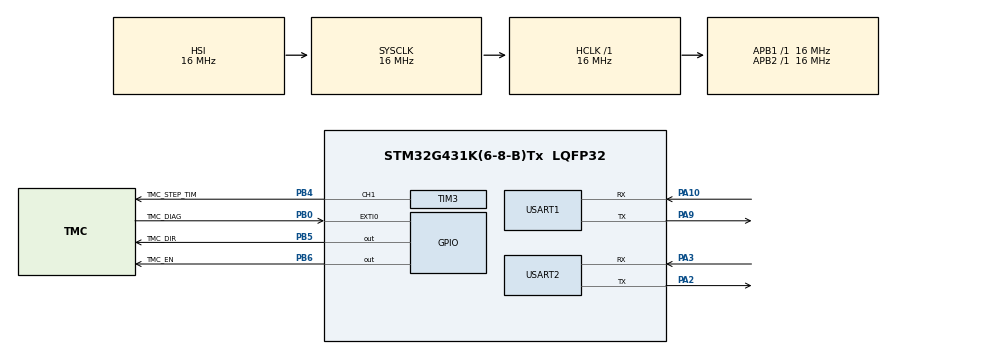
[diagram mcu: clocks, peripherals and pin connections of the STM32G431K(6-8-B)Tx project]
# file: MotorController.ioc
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Mcu.Family=STM32G4
Mcu.Name=STM32G431K(6-8-B)Tx
Mcu.Package=LQFP32
NVIC.PriorityGroup=NVIC_PRIORITYGROUP_4
NVIC.TIM2_IRQn=true\:0\:0\:false\:false\:true\:true\:true\:true
PA10.Mode=Asynchronous
PA10.Signal=USART1_RX
PA2.Mode=Asynchronous
PA2.Signal=USART2_TX
PA3.Mode=Asynchronous
PA3.Signal=USART2_RX
PA9.Mode=Asynchronous
PA9.Signal=USART1_TX
PB0.GPIO_Label=TMC_DIAG
PB0.Signal=GPXTI0
PB4.GPIO_Label=TMC_STEP_TIM
PB4.GPIO_Speed=GPIO_SPEED_FREQ_HIGH
PB4.Signal=S_TIM3_CH1
PB5.GPIO_Label=TMC_DIR
PB5.Signal=GPIO_Output
PB6.GPIO_Label=TMC_EN
PB6.PinState=GPIO_PIN_SET
PB6.Signal=GPIO_Output
ProjectManager.HeapSize=0x200
ProjectManager.StackSize=0x400
ProjectManager.TargetToolchain=CMake
RCC.AHBFreq_Value=16000000
RCC.APB1Freq_Value=16000000
RCC.APB1TimFreq_Value=16000000
RCC.APB2Freq_Value=16000000
RCC.APB2TimFreq_Value=16000000
RCC.CortexFreq_Value=16000000
RCC.EXTERNAL_CLOCK_VALUE=12288000
RCC.HCLKFreq_Value=16000000
RCC.HSE_VALUE=8000000
RCC.HSI48_VALUE=48000000
RCC.HSI_VALUE=16000000
RCC.LSE_VALUE=32768
RCC.SYSCLKFreq_VALUE=16000000
RCC.USBFreq_Value=64000000
RCC.VCOOutputFreq_Value=128000000
SH.S_TIM3_CH1.0=TIM3_CH1,PWM Generation1 CH1
TIM2.AutoReloadPreload=TIM_AUTORELOAD_PRELOAD_ENABLE
TIM2.PeriodNoDither=9
TIM2.Prescaler=15999
TIM3.AutoReloadPreload=TIM_AUTORELOAD_PRELOAD_ENABLE
TIM3.Channel-PWM\ Generation1\ CH1=TIM_CHANNEL_1
TIM3.PeriodNoDither=999
TIM3.Prescaler=15
TIM3.PulseNoDither_1=500
TIM3.TIM_MasterOutputTrigger=TIM_TRGO_OC1REF
USART1.VirtualMode-Asynchronous=VM_ASYNC
USART2.VirtualMode-Asynchronous=VM_ASYNC
VP_SYS_VS_DBSignals.Mode=DisableDeadBatterySignals
VP_TIM2_VS_ClockSourceINT.Mode=Internal
VP_TIM3_VS_ClockSourceINT.Mode=Internal
board=custom

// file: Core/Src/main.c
/* USER CODE BEGIN Header */
/**
  ******************************************************************************
  * @file           : main.c
  * @brief          : Main program body
  ******************************************************************************
  * @attention
  *
  * Copyright (c) 2025 STMicroelectronics.
  * All rights reserved.
  *
  * This software is licensed under terms that can be found in the LICENSE file
  * in the root directory of this software component.
  * If no LICENSE file comes with this software, it is provided AS-IS.
  *
  ******************************************************************************
  */
/* USER CODE END Header */
#include "main.h"
#include "tim.h"
#include "usart.h"
#include "gpio.h"

/* USER CODE BEGIN Includes */
#include "string.h"
#include "stdio.h"
#include "stdbool.h"

#include "tmc2209.h"

/* USER CODE END Includes */

/* USER CODE BEGIN PV */

#define APB1_CLK_HZ 16000000UL
#define TIM3_PRESCALER 15
#define TIM3_COUNTER_CLK_HZ (APB1_CLK_HZ / (TIM3_PRESCALER + 1))
#define MAX_VELOCITY 6800
#define MIN_VELOCITY 10

/* USER CODE END PV */

void SystemClock_Config(void);

/* USER CODE BEGIN 0 */

static inline int min_int(int a, int b) {
  return (a < b) ? a : b;
}

static inline int max_int(int a, int b) {
  return (a > b) ? a : b;
}

static inline void set_pin_high(GPIO_TypeDef *port, uint16_t pin) { HAL_GPIO_WritePin(port, pin, GPIO_PIN_SET); }
static inline void set_pin_low(GPIO_TypeDef *port, uint16_t pin) { HAL_GPIO_WritePin(port, pin, GPIO_PIN_RESET); }
static inline void toggle_pin(GPIO_TypeDef *port, uint16_t pin) { HAL_GPIO_TogglePin(port, pin); }
static inline void delay_ms(uint32_t ms) { HAL_Delay(ms); }

static inline void enable_motor() {
  printf("Enabling motor...\r\n");

  set_pin_low(TMC_EN_GPIO_Port, TMC_EN_Pin);
}
static inline void disable_motor() {
  printf("Disable motor...\r\n");

  set_pin_high(TMC_EN_GPIO_Port, TMC_EN_Pin);
}

static inline void set_dir_high() {
  printf("Set direction high...\r\n");

  set_pin_high(TMC_DIR_GPIO_Port, TMC_DIR_Pin);
}

static inline void set_dir_low() {
  printf("Set direction low...\r\n");

  set_pin_low(TMC_DIR_GPIO_Port, TMC_DIR_Pin);
}

static inline void set_step_period(int steps_per_sec) {
  if (steps_per_sec == 0) steps_per_sec = 1;

  uint32_t arr = (TIM3_COUNTER_CLK_HZ / steps_per_sec);

  if (arr < 2) arr = 2;               // keep CCR valid and avoid insane frequency
  if (arr > 0xFFFF) arr = 0xFFFF;     // TIM3 is 16-bit on STM32G4

  __HAL_TIM_SET_AUTORELOAD(&htim3, arr - 1);
  __HAL_TIM_SET_COMPARE(&htim3, TIM_CHANNEL_1, (arr - 1) / 2);
}

// Motion
typedef struct {
  int current_velocity;
  int target_velocity;
  int accel_step;
  int direction;
} stepper_motion_t;

static volatile stepper_motion_t motion;

static inline void set_velocity_target(int velocity) {
  motion.target_velocity = velocity;
}

static inline void set_velocity(int velocity) {
  motion.current_velocity = velocity;
  set_step_period(motion.current_velocity);
}

static inline void initialize_motion() {
  motion.accel_step = 0;
  motion.direction = 0;
  set_velocity(MIN_VELOCITY);
  set_velocity_target(MIN_VELOCITY);
}

static inline bool is_move_done() {
  return motion.current_velocity == motion.target_velocity;
}

static inline void set_accel(int steps) {
  motion.accel_step = steps;
}

static inline void update_move() {
  if (motion.current_velocity > motion.target_velocity) {
    set_velocity(max_int(motion.current_velocity - motion.accel_step, motion.target_velocity));
  } else if (motion.current_velocity < motion.target_velocity) {
    set_velocity(min_int(motion.current_velocity + motion.accel_step, motion.target_velocity));
  }
}

static inline void change_direction(void) {
  if (motion.direction == 0) {
    set_dir_high();
    motion.direction = 1;
  } else {
    set_dir_low();
    motion.direction = 0;
  }
}

/* USER CODE END 0 */

int main(void)
{

  /* MCU Configuration--------------------------------------------------------*/

  /* Reset of all peripherals, Initializes the Flash interface and the Systick. */
  HAL_Init();

  /* Configure the system clock */
  SystemClock_Config();

  /* USER CODE BEGIN SysInit */
  HAL_InitTick(TICK_INT_PRIORITY);

  /* USER CODE END SysInit */

  /* Initialize all configured peripherals */
  MX_GPIO_Init();
  MX_USART2_UART_Init();
  MX_TIM2_Init();
  MX_TIM3_Init();
  MX_USART1_UART_Init();
  /* USER CODE BEGIN 2 */
  HAL_TIM_Base_Start_IT(&htim2);
  HAL_TIM_PWM_Start(&htim3, TIM_CHANNEL_1);

  printf("=== Booting ===\r\n");
  initialize_motion();
  enable_motor();

  tmc2209_init();

  set_accel(4);
  /* USER CODE END 2 */

  /* Infinite loop */
  /* USER CODE BEGIN WHILE */
  while (1) {
    if (is_move_done()) {
      printf("=== Move done ===\r\n");
      if (motion.target_velocity == MAX_VELOCITY) {
        set_velocity_target(MIN_VELOCITY);
      } else {
        change_direction();
        set_velocity_target(MAX_VELOCITY);
      }
    }
    /* USER CODE END WHILE */

  }
}

void SystemClock_Config(void)
{
  RCC_OscInitTypeDef RCC_OscInitStruct = {0};
  RCC_ClkInitTypeDef RCC_ClkInitStruct = {0};

  /** Configure the main internal regulator output voltage
  */
  HAL_PWREx_ControlVoltageScaling(PWR_REGULATOR_VOLTAGE_SCALE1);

  /** Initializes the RCC Oscillators according to the specified parameters
  * in the RCC_OscInitTypeDef structure.
  */
  RCC_OscInitStruct.OscillatorType = RCC_OSCILLATORTYPE_HSI;
  RCC_OscInitStruct.HSIState = RCC_HSI_ON;
  RCC_OscInitStruct.HSICalibrationValue = RCC_HSICALIBRATION_DEFAULT;
  RCC_OscInitStruct.PLL.PLLState = RCC_PLL_NONE;
  if (HAL_RCC_OscConfig(&RCC_OscInitStruct) != HAL_OK)
  {
    Error_Handler();
  }

  /** Initializes the CPU, AHB and APB buses clocks
  */
  RCC_ClkInitStruct.ClockType = RCC_CLOCKTYPE_HCLK|RCC_CLOCKTYPE_SYSCLK
                              |RCC_CLOCKTYPE_PCLK1|RCC_CLOCKTYPE_PCLK2;
  RCC_ClkInitStruct.SYSCLKSource = RCC_SYSCLKSOURCE_HSI;
  RCC_ClkInitStruct.AHBCLKDivider = RCC_SYSCLK_DIV1;
  RCC_ClkInitStruct.APB1CLKDivider = RCC_HCLK_DIV1;
  RCC_ClkInitStruct.APB2CLKDivider = RCC_HCLK_DIV1;

  if (HAL_RCC_ClockConfig(&RCC_ClkInitStruct, FLASH_LATENCY_0) != HAL_OK)
  {
    Error_Handler();
  }
}

/* USER CODE BEGIN 4 */

void HAL_TIM_PeriodElapsedCallback(TIM_HandleTypeDef *htim) {
  if (htim->Instance == TIM2) {
    static uint32_t n = 0;
    n++;

    update_move();

    if ((n % 100) == 0) { // once per 100 ticks
      printf("current_velocity=%d target=%d\r\n", motion.current_velocity, motion.target_velocity);
    }
  }
}

/* USER CODE END 4 */

void Error_Handler(void)
{
  __disable_irq();
  while (1)
  {
  }
}
